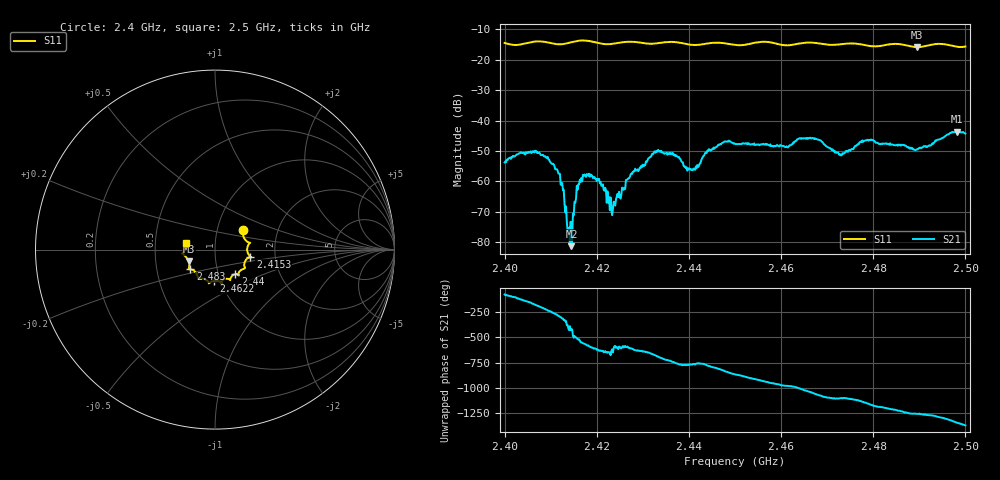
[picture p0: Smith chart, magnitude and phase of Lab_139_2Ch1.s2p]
# Hz S RI R 50
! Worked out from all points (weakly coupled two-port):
!   601 points, 2.4 GHz to 2.5 GHz, reference 50 ohm
!   highest |S21| = -43.63 dB at 2.4982 GHz (marker M1); lowest = -81.2 dB at 2.4145 GHz (marker M2)
!   lowest |S11| = -15.9 dB at 2.4895 GHz (marker M3), VSWR 1.38, Z = 36.9 - j4.99 ohm
!   |S11| at or under -10 dB: start of sweep to end of sweep
!   S12 and S22 are empty: the file has one direction only
!   S11 on the Smith chart (normalised r, x): 2.4 GHz: 1.33, +0.29; 2.4153 GHz: 1.48, -0.12; 2.44 GHz: 1.20, -0.34; 2.4622 GHz: 0.93, -0.33; 2.483 GHz: 0.74, -0.17; 2.5 GHz: 0.72, +0.06
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2.4e9  0.1549 0.1069  0.000271 -0.00204  0 0  0 0
2.409333e9  0.1898 0.032  -0.0014 0.00212  0 0  0 0
2.412e9  0.1787 -0.00043  0.000697 0.00115  0 0  0 0
2.413667e9  0.1854 -0.0238  0.000142 -5.89e-05  0 0  0 0
2.4145e9  0.191 -0.0326  3.82e-05 -7.77e-05  0 0  0 0
2.415333e9  0.1966 -0.0386  -0.000355 -0.000277  0 0  0 0
2.416667e9  0.2022 -0.0428  -0.00112 0.000239  0 0  0 0
2.42e9  0.1848 -0.0461  -6.72e-05 0.00101  0 0  0 0
2.423667e9  0.1629 -0.0839  -0.00016 0.000438  0 0  0 0
2.427833e9  0.167 -0.1035  -0.000318 0.00141  0 0  0 0
2.433333e9  0.1309 -0.1336  0.00296 0.00147  0 0  0 0
2.44e9  0.1137 -0.1367  0.000985 -0.00131  0 0  0 0
2.45e9  0.0648 -0.1625  -0.00345 -0.0023  0 0  0 0
2.462167e9  -0.00738 -0.174  -0.000492 0.00394  0 0  0 0
2.466667e9  -0.0342 -0.1877  0.00417 0.00297  0 0  0 0
2.473e9  -0.0801 -0.1603  0.00252 -0.000917  0 0  0 0
2.478167e9  -0.0991 -0.1428  0.00208 -0.0042  0 0  0 0
2.483e9  -0.1377 -0.1096  -0.0021 -0.00353  0 0  0 0
2.483333e9  -0.1402 -0.1093  -0.00224 -0.00348  0 0  0 0
2.4895e9  -0.1464 -0.0658  -0.00337 -0.00033  0 0  0 0
2.498167e9  -0.1627 0.00815  -0.000942 0.00652  0 0  0 0
2.5e9  -0.1596 0.0394  0.00192 0.00578  0 0  0 0
